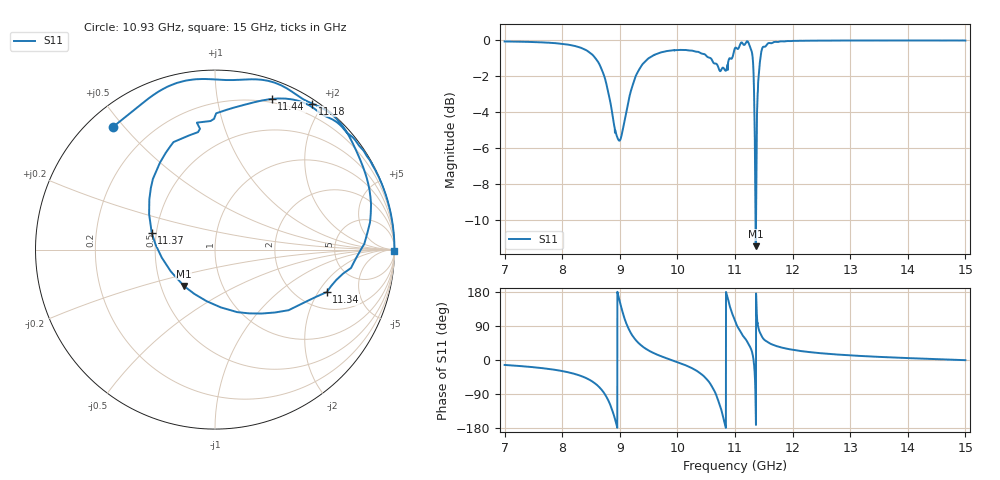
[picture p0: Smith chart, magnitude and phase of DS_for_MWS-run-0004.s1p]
! TOUCHSTONE file generated by CST DESIGN STUDIO
! Date and time: Mon Feb 10 16:46:54 2025
! Project name: C:\Work\MatlabApps\UnitCellType2OptimizationMatlab\CST\unitcell.cst
! Tree item: Tasks\Sweep1\SPara1\S-Parameters
! Header version: 2024
! Port assignment regex: !\s*Touchstone port\s*([0-9]+)\s*=\s*(CST MWS port|CST DES external port|CST DES block port)\s*(.+)\s* \(\"(.*)\"\)(\s*mode\s*([0-9]+))?.*
! Touchstone port assignment:
! Touchstone port 1 = CST DES external port 1 ("")
# GHz S MA R 50
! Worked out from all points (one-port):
!   4001 points, 7 GHz to 15 GHz, reference 50 ohm
!   lowest |S11| = -11.5 dB at 11.36 GHz (marker M1), VSWR 1.73, Z = 32.7 - j14.3 ohm
!   |S11| at or under -10 dB: 11.35444 GHz to 11.36506 GHz (10.62 MHz wide, 0.0935 % of centre)
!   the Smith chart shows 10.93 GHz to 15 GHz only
!   S11 on the Smith chart (normalised r, x): 10.93 GHz: 0.07, +0.47; 11.18 GHz: 0.05, +1.87; 11.34 GHz: 2.80, -2.38; 11.37 GHz: 0.47, +0.10; 11.44 GHz: 0.17, +1.43; 15 GHz: open
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7  0.9934 -13.0
8  0.9786 -29.2
8.444  0.9334 -49.9
8.722  0.8018 -86.0
8.894  0.5897 -144.5
9  0.5256 153.8
9.152  0.6792 82.8
9.39  0.8567 36.2
10  0.9402 -5.6
10.44  0.9176 -40.2
10.566  0.8943 -61.5
10.676  0.8606 -93.2
10.752  0.8226 -126.4
10.822  0.8278 -167.9
10.934  0.8887 129.7
11  0.9525 103.0
11.178  0.9779 56.3
11.29  0.9317 24.1
11.336  0.666 -20.8
11.36  0.2665 -130.7
11.368  0.3636 165.6
11.396  0.7167 92.0
11.442  0.8969 69.3
11.6  0.9837 44.0
12  0.9972 27.0
13  0.9994 12.2
14  0.9999 5.1
15  0.9996 -0.5
